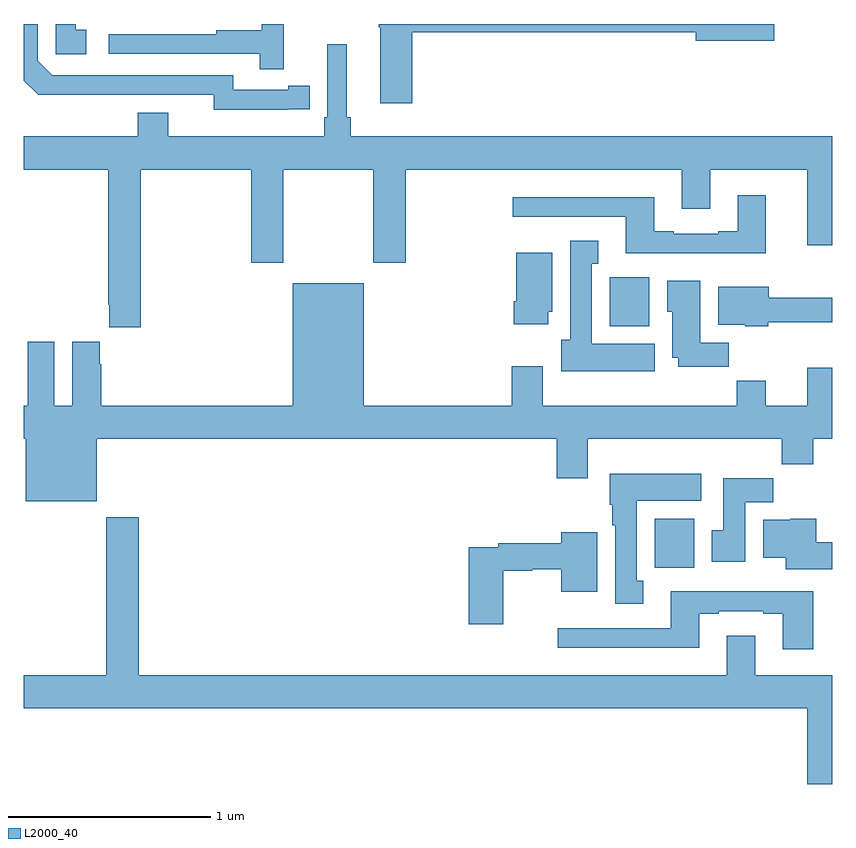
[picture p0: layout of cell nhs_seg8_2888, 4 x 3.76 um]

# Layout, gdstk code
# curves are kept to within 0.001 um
import gdstk
lib = gdstk.Library(unit=1e-6, precision=1e-09)
def R(c, l, rs):  # rectangles x0, y0, x1, y1
    for r in rs: c.add(gdstk.rectangle(r[:2], r[2:], *l))
def P(c, l, *ps):  # polygons
    for p in ps: c.add(gdstk.Polygon(p, *l))
L2000_40 = (2000, 40)

nhs_seg8_2888 = lib.new_cell('nhs_seg8_2888')
R(nhs_seg8_2888, L2000_40, [(296.12,1101.212,296.317,1101.454), (295.898,1102.406,296.095,1102.648)])
P(nhs_seg8_2888, L2000_40, [(294.287,1103.9),(294.177,1103.9),(294.177,1103.87),(293.953,1103.87),(293.953,1103.85),(293.421,1103.85),(293.421,1103.754),(294.169,1103.754),(294.169,1103.676),(294.287,1103.676)],
  [(294.308,1103.478),(294.416,1103.478),(294.416,1103.594),(294.308,1103.594),(294.308,1103.574),(294.036,1103.574),(294.036,1103.646),(293.142,1103.646),(293.07,1103.718),(293.07,1103.9),(293,1103.9),(293,1103.62),(293.072,1103.549),(293.94,1103.55),(293.94,1103.477)],
  [(293.311,1103.871),(293.258,1103.871),(293.258,1103.9),(293.16,1103.9),(293.16,1103.751),(293.311,1103.751)],
  [(294.923,1103.86),(296.324,1103.86),(296.324,1103.818),(296.713,1103.818),(296.713,1103.9),(294.757,1103.9),(294.757,1103.883),(294.764,1103.883),(294.764,1103.508),(294.923,1103.508)],
  [(293.579,1103.18),(294.125,1103.18),(294.125,1102.719),(294.285,1102.719),(294.285,1103.18),(294.73,1103.18),(294.73,1102.719),(294.89,1102.719),(294.89,1103.18),(296.255,1103.18),(296.255,1102.986),(296.395,1102.986),(296.395,1103.18),(296.876,1103.18),(296.876,1102.806),(297,1102.806),(297,1103.344),(294.617,1103.344),(294.617,1103.44),(294.598,1103.44),(294.598,1103.8),(294.501,1103.8),(294.501,1103.44),(294.488,1103.44),(294.488,1103.344),(293.716,1103.344),(293.716,1103.461),(293.564,1103.461),(293.564,1103.344),(293,1103.344),(293,1103.18),(293.419,1103.18),(293.419,1102.513),(293.423,1102.513),(293.423,1102.401),(293.579,1102.401)],
  [(296.671,1103.053),(296.531,1103.053),(296.531,1102.876),(296.435,1102.876),(296.435,1102.863),(296.215,1102.863),(296.215,1102.876),(296.119,1102.876),(296.119,1103.044),(295.419,1103.044),(295.419,1102.947),(295.979,1102.947),(295.979,1102.766),(296.671,1102.766)],
  [(296.122,1102.318),(295.81,1102.318),(295.81,1102.715),(295.843,1102.715),(295.843,1102.828),(295.703,1102.828),(295.703,1102.338),(295.658,1102.338),(295.658,1102.184),(296.122,1102.184)],
  [(295.594,1102.476),(295.615,1102.476),(295.615,1102.768),(295.436,1102.768),(295.436,1102.528),(295.424,1102.528),(295.424,1102.416),(295.594,1102.416)],
  [(296.486,1102.324),(296.347,1102.324),(296.347,1102.63),(296.183,1102.63),(296.183,1102.476),(296.207,1102.476),(296.207,1102.25),(296.237,1102.25),(296.237,1102.206),(296.486,1102.206)],
  [(293.362,1101.848),(295.637,1101.848),(295.637,1101.654),(295.789,1101.654),(295.789,1101.848),(296.749,1101.848),(296.749,1101.724),(296.906,1101.724),(296.906,1101.848),(297,1101.848),(297,1102.201),(296.876,1102.201),(296.876,1102.012),(296.671,1102.012),(296.671,1102.136),(296.527,1102.136),(296.527,1102.012),(295.567,1102.012),(295.567,1102.207),(295.415,1102.207),(295.415,1102.012),(294.682,1102.012),(294.682,1102.618),(294.332,1102.618),(294.332,1102.012),(293.384,1102.012),(293.384,1102.217),(293.377,1102.217),(293.377,1102.33),(293.24,1102.33),(293.24,1102.012),(293.152,1102.012),(293.152,1102.33),(293.021,1102.33),(293.021,1102.012),(293,1102.012),(293,1101.848),(293.012,1101.848),(293.012,1101.539),(293.362,1101.539)],
  [(296.682,1102.424),(297,1102.424),(297,1102.546),(296.686,1102.546),(296.686,1102.6),(296.435,1102.6),(296.435,1102.412),(296.568,1102.412),(296.568,1102.406),(296.682,1102.406)],
  [(296.065,1101.146),(296.032,1101.146),(296.032,1101.542),(296.35,1101.542),(296.35,1101.676),(295.898,1101.676),(295.898,1101.522),(295.91,1101.522),(295.91,1101.422),(295.925,1101.422),(295.925,1101.033),(296.065,1101.033)],
  [(296.569,1101.536),(296.708,1101.536),(296.708,1101.655),(296.459,1101.655),(296.459,1101.396),(296.402,1101.396),(296.402,1101.24),(296.569,1101.24)],
  [(297,1100.68),(296.617,1100.68),(296.617,1100.875),(296.477,1100.875),(296.477,1100.68),(293.57,1100.68),(293.57,1101.46),(293.41,1101.46),(293.41,1100.68),(293,1100.68),(293,1100.516),(296.876,1100.516),(296.876,1100.142),(297,1100.142)],
  [(297,1101.338),(296.921,1101.338),(296.921,1101.454),(296.79,1101.454),(296.79,1101.448),(296.657,1101.448),(296.657,1101.26),(296.768,1101.26),(296.768,1101.203),(297,1101.203)],
  [(295.372,1101.196),(295.515,1101.196),(295.515,1101.204),(295.658,1101.204),(295.658,1101.092),(295.837,1101.092),(295.837,1101.388),(295.658,1101.388),(295.658,1101.332),(295.348,1101.332),(295.348,1101.312),(295.202,1101.312),(295.202,1100.931),(295.372,1100.931)],
  [(296.906,1101.094),(296.201,1101.094),(296.201,1100.913),(295.641,1100.913),(295.641,1100.816),(296.341,1100.816),(296.341,1100.985),(296.437,1100.985),(296.437,1100.997),(296.657,1100.997),(296.657,1100.985),(296.753,1100.985),(296.753,1100.808),(296.906,1100.808)])

lib.write_gds('nhs_seg8_2888.gds')
